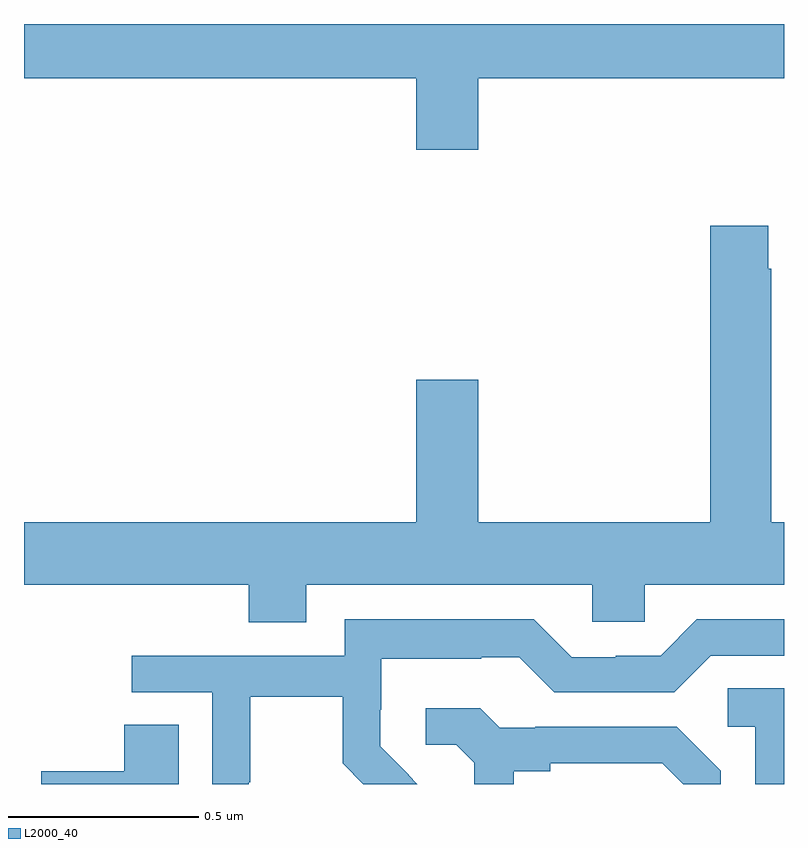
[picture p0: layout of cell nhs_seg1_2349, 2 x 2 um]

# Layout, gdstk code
import gdstk
lib = gdstk.Library(unit=1e-6, precision=1e-09)
def P(c, l, *ps):  # polygons
    for p in ps: c.add(gdstk.Polygon(p, *l))
L2000_40 = (2000, 40)

nhs_seg1_2349 = lib.new_cell('nhs_seg1_2349')
P(nhs_seg1_2349, L2000_40, [(141.196,561.056),(142,561.056),(142,561.199),(140,561.199),(140,561.056),(141.032,561.056),(141.032,560.868),(141.196,560.868)],
  [(140.743,559.724),(141.495,559.724),(141.495,559.626),(141.633,559.626),(141.633,559.724),(142,559.724),(142,559.888),(141.966,559.888),(141.966,560.555),(141.959,560.555),(141.959,560.668),(141.806,560.668),(141.806,559.888),(141.196,559.888),(141.196,560.263),(141.032,560.263),(141.032,559.888),(140,559.888),(140,559.724),(140.591,559.724),(140.591,559.625),(140.743,559.625)],
  [(140.592,559.204),(140.595,559.204),(140.595,559.428),(140.839,559.428),(140.839,559.253),(140.893,559.199),(141.035,559.199),(141.011,559.223),(141.012,559.224),(140.938,559.298),(140.938,559.395),(140.94,559.395),(140.94,559.529),(141.203,559.529),(141.203,559.533),(141.303,559.533),(141.396,559.44),(141.711,559.44),(141.807,559.536),(142,559.536),(142,559.632),(141.771,559.632),(141.675,559.536),(141.557,559.536),(141.557,559.533),(141.441,559.533),(141.341,559.633),(140.844,559.633),(140.844,559.536),(140.283,559.536),(140.283,559.44),(140.496,559.44),(140.496,559.199),(140.592,559.199)],
  [(142,559.451),(141.852,559.451),(141.852,559.35),(141.924,559.35),(141.924,559.199),(142,559.199)],
  [(141.289,559.232),(141.385,559.232),(141.385,559.254),(141.68,559.254),(141.735,559.199),(141.834,559.199),(141.834,559.234),(141.718,559.35),(141.346,559.35),(141.346,559.347),(141.252,559.347),(141.2,559.399),(141.057,559.399),(141.057,559.302),(141.138,559.302),(141.185,559.255),(141.185,559.199),(141.289,559.199)],
  [(140.407,559.355),(140.264,559.355),(140.264,559.232),(140.046,559.232),(140.046,559.199),(140.407,559.199)])

lib.write_gds('nhs_seg1_2349.gds')
